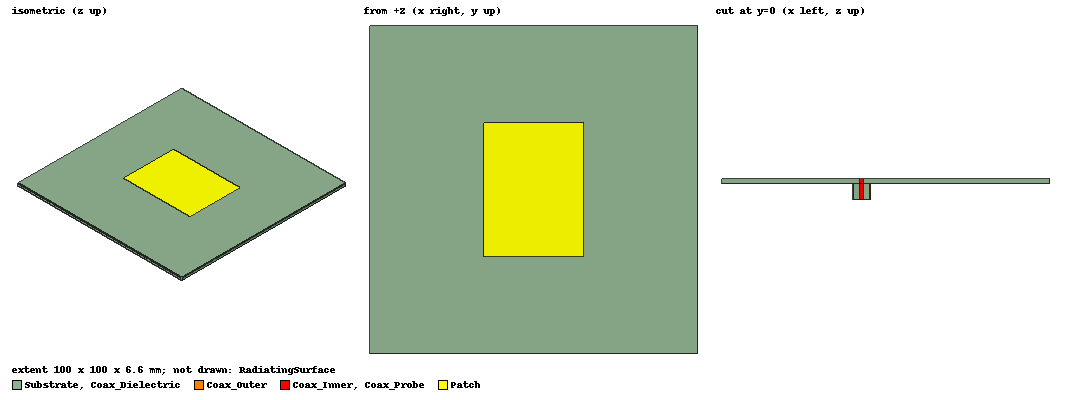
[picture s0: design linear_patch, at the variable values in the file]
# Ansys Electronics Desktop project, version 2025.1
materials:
  vacuum: permittivity=1
  FR4_epoxy: permittivity=4.4 dielectric_loss_tangent=0.02
  pec: conductivity=1e+30
  Teflon (tm): permittivity=2.1 dielectric_loss_tangent=0.001

design linear_patch (HFSS, HFSS Modal Network, model units mm)
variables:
  sub_x = 10cm
  sub_y = 10cm
  sub_z = 1.6mm  # Board thickness
  feed_point = 0.48  # Fraction of length from center to edge of patch
  patch_L = 30.6mm  # Square patch length
  patch_W = 40.66mm
  coax_outer_rad = 2.7mm
  coax_inner_rad = 0.635mm
  coax_dielectric_rad = 2.5mm
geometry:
  Substrate [FR4_epoxy] = box(corner=(-sub_x/2, -sub_y/2, 0mm), size=(sub_x, sub_y, sub_z))
  Ground = rectangle(corner=(-sub_x/2, -sub_y/2, 0mm), x_size=sub_x, y_size=sub_y)
  Hole = circle(normal=Z, centre=(feed_point*patch_l/2, 0mm, 0mm), radius=coax_dielectric_rad)
  Ground.subtract(Hole)
  Patch = rectangle(corner=(-patch_L /2, -patch_W/2, sub_z), x_size=patch_L, y_size=patch_W)
  Coax_Dielectric [Teflon (tm)] = cylinder(axis=Z, base_centre=(feed_point*patch_l/2, 0mm, 0mm), radius=coax_dielectric_rad, height=-5mm)
  Coax_Inner [pec] = cylinder(axis=Z, base_centre=(feed_point*patch_l/2, 0mm, 0mm), radius=coax_inner_rad, height=-5mm)
  Coax_Probe [pec] = cylinder(axis=Z, base_centre=(feed_point*patch_l/2, 0mm, 0mm), radius=coax_inner_rad, height=sub_z)
  Port = circle(normal=Z, centre=(feed_point*patch_l/2, 0mm, -5mm), radius=coax_outer_rad)
  RadiatingSurface [vacuum] = region(absolute_offset=44.54343mm on all sides)
  Coax_Outer [pec] = cylinder(axis=Z, base_centre=(feed_point*patch_l/2, 0mm, 0mm), radius=coax_outer_rad, height=-5mm)
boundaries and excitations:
  PerfE1: Perfect E Objects=Ground
  PerfE2: Perfect E Objects=Patch
  Open1: Radiation Objects=RadiatingSurface
  1: Lumped Port Objects=Port LumpedPortType=Modal Modes{Mode1{IntLine{(7.979, 0, -5) -> (9.844, 0, -5)} CharImp=Zpi}} Impedance=50ohm
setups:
  Setup1: HfssDriven Frequency=2.245GHz MaxDeltaS=0.02 MaximumPasses=15 MinimumPasses=1 MinimumConvergedPasses=1 PercentRefinement=30 BasisOrder=1 PortAccuracy=2 DrivenSolverType="Direct Solver"
    sweep Sweep: 2.1GHz to 2.4GHz step 0.5MHz; Type=Interpolating InterpTolerance=0.5 InterpMaxSolns=250 InterpUsePortImped=false PassivityErrorTolerance=0.0001
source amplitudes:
  1:1: 1W 0deg
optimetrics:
  Patch_L Sweep: Parametric Sim._Setups=[Setup1]
    sweep patch_L: LIN 28.5mm 31.5mm 0.5mm
  Feed Point Sweep: Parametric Sim._Setups=[Setup1]
    sweep feed_point: LIN 0.25 0.6 0.05
  Patch_L Fine Sweep: Parametric Sim._Setups=[Setup1]
    sweep patch_L: LIN 30.5mm 30.75mm 0.05mm
  Feed Point Fine Sweep: Parametric Sim._Setups=[Setup1]
    sweep feed_point: LIN 0.49 0.51 0.01
  Patch_L Fine Fine Sweep: Parametric Sim._Setups=[Setup1]
    sweep patch_L: LIN 30.58mm 30.61mm 0.01mm
  Length Tolerance Sweep: Parametric Sim._Setups=[Setup1]
    sweep patch_L: LIN 30.43mm 30.83mm 0.1mm
  Patch_W Sweep: Parametric Sim._Setups=[Setup1]
    sweep patch_W: LIN 43mm 50mm 1mm
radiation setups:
  3D: Infinite Sphere Theta=0deg..180deg step 2deg Phi=-180deg..180deg step 2deg
  Elevation: Infinite Sphere Theta=-180deg..180deg step 1deg Phi=0deg..90deg step 90deg
  Azimuth: Infinite Sphere Theta=90deg..90deg step 0deg Phi=-180deg..180deg step 1deg
  Infinite Sphere1: Infinite Sphere Theta=0deg..180deg step 2deg Phi=-180deg..180deg step 2deg
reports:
  S Parameter Plot1: dB(S(1,1)) vs Freq on Setup1 : Sweep [feed_point=0.48 patch_L=30.6mm patch_W=40.66mm coax_outer_rad=2.7mm]; markers m1 at 2.244GHz, m2 at 2.252GHz, m3 at 2.243GHz, m4 at 2.243GHz, m5 at 2.246GHz, m6 at 2.245GHz, m7 at 2.2455GHz, m8 at 2.2455GHz, MX1 at x=2.245e+09, MY1 at y=-15
